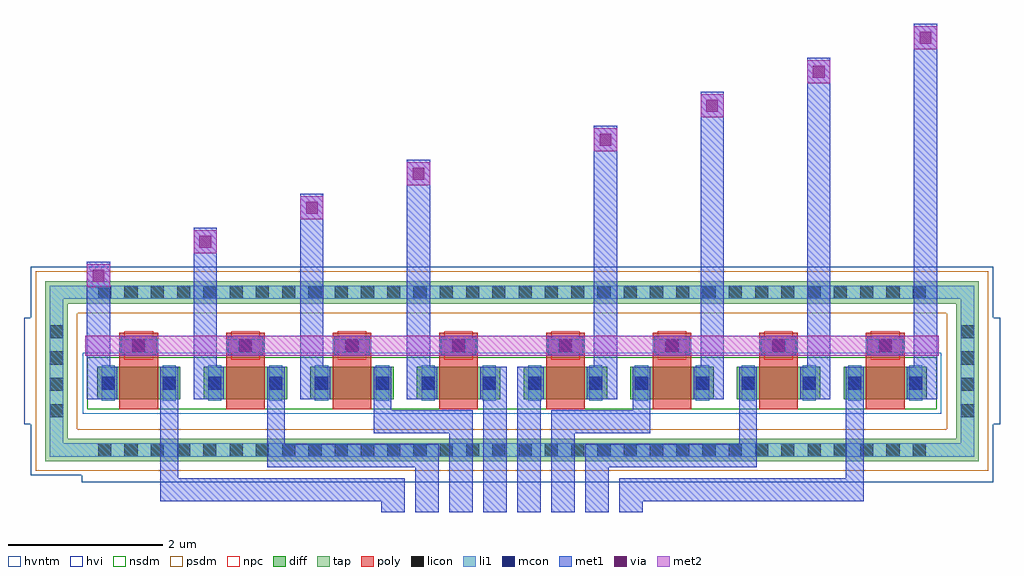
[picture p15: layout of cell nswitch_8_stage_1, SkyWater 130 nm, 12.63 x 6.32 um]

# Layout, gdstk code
import gdstk
lib = gdstk.Library(unit=1e-6, precision=1e-09)
def R(c, l, rs):  # rectangles x0, y0, x1, y1
    for r in rs: c.add(gdstk.rectangle(r[:2], r[2:], *l))
def A(c, l, x, y, w, h, nx, ny, dx, dy):  # array of equal rectangles
    R(c, l, [(x+i*dx, y+j*dy, x+i*dx+w, y+j*dy+h) for i in range(nx) for j in range(ny)])
diff = (65, 20)
tap = (65, 44)
poly = (66, 20)
licon = (66, 44)
li1 = (67, 20)
mcon = (67, 44)
met1 = (68, 20)
via = (68, 44)
met2 = (69, 20)
hvi = (75, 20)
nsdm = (93, 44)
psdm = (94, 20)
npc = (95, 20)
hvntm = (125, 20)

sky130_fd_pr__nfet_g5v0d = lib.new_cell('sky130_fd_pr__nfet_g5v0d10v5_NQHLCX')
R(sky130_fd_pr__nfet_g5v0d, diff, [(-0.54,-0.365,0.54,0.055)])
R(sky130_fd_pr__nfet_g5v0d, poly, [(-0.25,-0.495,0.25,0.495)])
R(sky130_fd_pr__nfet_g5v0d, licon, [(-0.48,-0.24,-0.31,-0.07), (0.31,-0.24,0.48,-0.07), (-0.085,0.245,0.085,0.415)])
R(sky130_fd_pr__nfet_g5v0d, li1, [(-0.48,-0.385,-0.31,0.075), (0.31,-0.385,0.48,0.075), (-0.25,0.245,0.25,0.415)])
R(sky130_fd_pr__nfet_g5v0d, mcon, [(-0.48,-0.24,-0.31,-0.07), (0.31,-0.24,0.48,-0.07), (-0.085,0.245,0.085,0.415)])
R(sky130_fd_pr__nfet_g5v0d, met1, [(-0.51,-0.365,-0.28,0.055), (0.28,-0.365,0.51,0.055), (-0.23,0.215,0.23,0.445)])
R(sky130_fd_pr__nfet_g5v0d, hvi, [(-0.725,-0.575,0.725,0.265)])
R(sky130_fd_pr__nfet_g5v0d, nsdm, [(-0.665,-0.49,0.665,0.18)])
R(sky130_fd_pr__nfet_g5v0d, npc, [(-0.185,0.145,0.185,0.515)])
R(sky130_fd_pr__nfet_g5v0d, hvntm, [(-0.725,-0.55,0.725,0.24)])

hnmos_1 = lib.new_cell('hnmos_1')
R(hnmos_1, met1, [(0.325,0.71,0.645,0.97)])
R(hnmos_1, via, [(0.41,0.765,0.56,0.915)])
R(hnmos_1, met2, [(-0.205,0.71,1.175,0.97)])
hnmos_1.add(gdstk.Reference(sky130_fd_pr__nfet_g5v0d, (0.485,0.51)))

hnmos_2 = lib.new_cell('hnmos_2')
R(hnmos_2, nsdm, [(1.335,0.01,1.385,0.68)])
hnmos_2.add(gdstk.Reference(hnmos_1, (1.565,-0.01)))
hnmos_2.add(gdstk.Reference(hnmos_1, (0.185,-0.01)))

hnmos_4 = lib.new_cell('hnmos_4')
R(hnmos_4, nsdm, [(2.695,0.005,2.745,0.675)])
hnmos_4.add(gdstk.Reference(hnmos_2, (2.74,-0.005)))
hnmos_4.add(gdstk.Reference(hnmos_2, (-0.02,-0.005)))

hnmos_8 = lib.new_cell('hnmos_8')
R(hnmos_8, tap, [(-0.505,-0.72,11.575,-0.43), (-0.505,-0.43,-0.215,1.32), (11.285,-0.43,11.575,1.32), (-0.505,1.32,11.575,1.61)])
A(hnmos_8, licon, 0.18, -0.66, 0.17, 0.17, 32, 2, 0.34, 2.04)
A(hnmos_8, licon, -0.445, -0.15, 0.17, 0.17, 1, 4, 0, 0.34)
A(hnmos_8, licon, 11.345, -0.15, 0.17, 0.17, 1, 4, 0, 0.34)
R(hnmos_8, li1, [(-0.445,-0.66,11.515,-0.49), (-0.445,-0.49,-0.275,1.38), (11.345,-0.49,11.515,1.38), (-0.445,1.38,11.515,1.55)])
R(hnmos_8, hvi, [(-0.03,-0.995,11.76,-0.905), (-0.69,-0.905,11.76,-0.245), (-0.78,-0.245,11.85,-0.13), (-0.78,-0.13,0.06,0.71), (11.01,-0.13,11.85,0.71), (-0.78,0.71,11.85,1.135), (-0.69,1.135,11.76,1.795)])
R(hnmos_8, nsdm, [(5.51,-0.045,5.56,0.625)])
R(hnmos_8, psdm, [(-0.63,-0.845,11.7,-0.305), (-0.63,-0.305,-0.09,1.195), (11.16,-0.305,11.7,1.195), (-0.63,1.195,11.7,1.735)])
hnmos_8.add(gdstk.Reference(hnmos_4, (5.575,-0.05)))
hnmos_8.add(gdstk.Reference(hnmos_4, (0.055,-0.05)))

nswitch_8_stage_1 = lib.new_cell('nswitch_8_stage_1')
R(nswitch_8_stage_1, met1, [(152.145,-42.33,152.445,-42.19), (152.585,-42.33,152.885,-41.75), (153.025,-42.33,153.325,-41.31), (153.465,-42.33,153.765,-40.45), (153.905,-42.33,154.205,-40.45), (154.345,-42.33,154.645,-41.31), (154.785,-42.33,155.085,-41.75), (155.225,-42.33,155.525,-42.19), (149.285,-42.19,152.445,-41.89), (155.225,-42.19,158.385,-41.89), (149.285,-41.89,149.515,-40.87), (158.155,-41.89,158.385,-40.81), (150.665,-41.75,152.885,-41.45), (154.785,-41.75,157.005,-41.45), (150.665,-41.45,150.895,-40.87), (156.775,-41.45,157.005,-40.85), (152.045,-41.31,153.325,-41.01), (154.345,-41.31,155.625,-41.01), (152.045,-41.01,152.275,-40.87), (155.395,-41.01,155.625,-40.87), (148.335,-40.87,148.635,-39.09), (149.715,-40.87,150.015,-38.65), (151.095,-40.87,151.395,-38.21), (152.475,-40.87,152.775,-37.77), (154.895,-40.87,155.195,-37.33), (156.275,-40.87,156.575,-36.89), (157.655,-40.87,157.955,-36.45), (159.035,-40.87,159.335,-36.01), (156.79,-40.85,157.005,-40.81)])
R(nswitch_8_stage_1, via, [(148.41,-39.345,148.56,-39.195), (149.79,-38.905,149.94,-38.755), (151.17,-38.465,151.32,-38.315), (152.55,-38.025,152.7,-37.875), (154.97,-37.585,155.12,-37.435), (156.35,-37.145,156.5,-36.995), (157.73,-36.705,157.88,-36.555), (159.11,-36.265,159.26,-36.115)])
R(nswitch_8_stage_1, met2, [(148.335,-39.42,148.635,-39.12), (149.715,-38.98,150.015,-38.68), (151.095,-38.54,151.395,-38.24), (152.475,-38.1,152.775,-37.8), (154.895,-37.66,155.195,-37.36), (156.275,-37.22,156.575,-36.92), (157.655,-36.78,157.955,-36.48), (159.035,-36.34,159.335,-36.04)])
nswitch_8_stage_1.add(gdstk.Reference(hnmos_8, (148.3,-40.95)))

lib.write_gds('nswitch_8_stage_1.gds')
